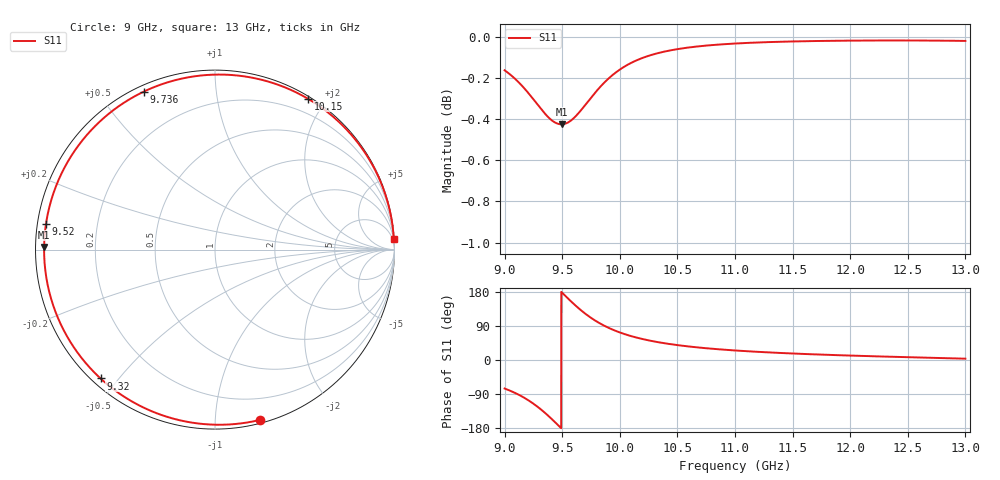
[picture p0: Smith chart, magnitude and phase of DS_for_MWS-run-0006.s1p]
! TOUCHSTONE file generated by CST DESIGN STUDIO
! Date and time: Tue Feb  4 14:09:32 2025
! Project name: C:\Work\MatlabApps\UnitCellOptimizationMatlab\CST\unitcell.cst
! Tree item: Tasks\Sweep1\SPara1\S-Parameters
! Header version: 2024
! Port assignment regex: !\s*Touchstone port\s*([0-9]+)\s*=\s*(CST MWS port|CST DES external port|CST DES block port)\s*(.+)\s* \(\"(.*)\"\)(\s*mode\s*([0-9]+))?.*
! Touchstone port assignment:
! Touchstone port 1 = CST DES external port 1 ("")
# GHz S MA R 50
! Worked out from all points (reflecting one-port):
!   4001 points, 9 GHz to 13 GHz, reference 50 ohm
!   lowest |S11| = -0.4 dB at 9.494 GHz (marker M1), VSWR 40.90, Z = 1.22 + j0.389 ohm
!   phase of S11 starts at -75 deg and turns -281 deg over the sweep
!   S11 on the Smith chart (normalised r, x): 9 GHz: 0.03, -1.30; 9.32 GHz: 0.02, -0.45; 9.52 GHz: 0.02, +0.08; 9.736 GHz: 0.02, +0.65; 10.15 GHz: 0.03, +1.79; 13 GHz: 1, +33
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9  0.9815 -75.2
9.084  0.9772 -86.0
9.184  0.9707 -102.1
9.255  0.9653 -116.4
9.32  0.9602 -131.6
9.366  0.9569 -143.6
9.415  0.9541 -157.4
9.455  0.9527 -169.2
9.494  0.9523 179.1
9.5  0.9523 177.3
9.52  0.9525 171.3
9.573  0.9541 155.7
9.632  0.9576 139.3
9.683  0.9613 126.3
9.736  0.9655 114.2
9.789  0.9695 103.5
9.848  0.9736 93.2
9.923  0.9781 82.1
10  0.9819 72.7
10.155  0.9872 58.4
10.311  0.9906 48.2
10.5  0.9932 39.3
10.722  0.995 31.8
11  0.9963 25.2
11.5  0.9975 17.1
12  0.9979 11.7
12.5  0.998 7.4
13  0.9978 3.5
